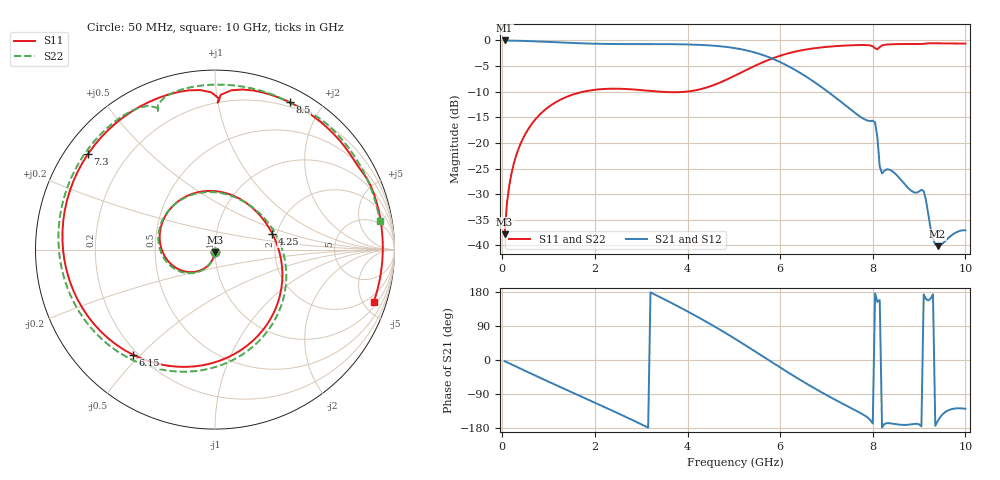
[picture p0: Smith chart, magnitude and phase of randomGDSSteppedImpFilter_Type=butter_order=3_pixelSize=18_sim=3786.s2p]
! freq	dB(S11)	phase(S11)	dB(S12)	phase(S12)
!  dB(S21)	phase(S21)	dB(S22)	phase(S22)
!S-par simulation data
#  GHz  S  DB  R 50
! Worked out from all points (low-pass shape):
!   200 points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, 50 MHz to 10 GHz, reference 50 ohm
!   highest |S21| = 0.00 dB at 50 MHz (marker M1); lowest = -40.1 dB at 9.4 GHz (marker M2)
!   |S21| within 3 dB of the highest: start of sweep to 5.677 GHz
!   lowest |S11| = -37.8 dB at 50 MHz (marker M3), VSWR 1.03, Z = 49.9 - j1.28 ohm
!   |S11| at or under -10 dB: start of sweep to 1.754 GHz; 3.406 GHz to 3.965 GHz (559 MHz wide, 15.2 % of centre)
!   |S22| runs from -37.8 to -0.6 dB; largest |S21 - S12| = 0
!   S11 on the Smith chart (normalised r, x): 50 MHz: 1.00, -0.03; 4.25 GHz: 1.90, +0.37; 6.15 GHz: 0.18, -0.48; 7.3 GHz: 0.07, +0.33; 8.5 GHz: 0.15, +1.62; 10 GHz: 1.37, -5.96
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0.05  -37.85 -92.7  -0.00 -3.0  -0.00 -3.0  -37.85 -92.6
0.2  -25.89 -102.0  -0.03 -11.7  -0.03 -11.7  -25.89 -101.4
0.5  -18.22 -120.2  -0.10 -29.0  -0.10 -29.0  -18.22 -118.6
1.15  -12.08 -158.3  -0.36 -65.7  -0.36 -65.7  -12.08 -154.5
1.75  -10.01 167.4  -0.58 -98.9  -0.58 -98.9  -10.01 173.4
2.65  -9.47 115.1  -0.71 -149.2  -0.71 -149.2  -9.47 125.2
3.4  -10.00 69.4  -0.72 166.3  -0.72 166.3  -10.00 82.4
4.25  -9.58 15.1  -0.86 111.5  -0.86 111.5  -9.60 27.1
4.65  -8.41 -11.9  -1.09 83.6  -1.09 83.6  -8.43 -1.9
5.05  -6.75 -40.6  -1.54 54.2  -1.54 54.2  -6.76 -32.5
5.55  -4.56 -79.4  -2.62 15.5  -2.62 15.5  -4.55 -72.0
6.15  -2.58 -127.9  -4.90 -31.2  -4.90 -31.2  -2.55 -118.8
6.7  -1.57 -171.6  -7.89 -71.7  -7.89 -71.7  -1.53 -159.1
7.3  -1.06 143.0  -11.88 -112.2  -11.88 -112.2  -1.01 160.4
7.75  -0.89 110.3  -15.01 -141.0  -15.01 -141.0  -0.86 131.6
8.05  -1.52 88.3  -15.99 175.8  -15.99 175.8  -1.40 112.0
8.15  -1.28 87.9  -24.60 158.2  -24.60 158.2  -1.22 111.5
8.35  -0.77 73.1  -25.18 -166.7  -25.18 -166.7  -0.77 98.3
8.5  -0.72 63.1  -26.14 -169.4  -26.14 -169.4  -0.73 89.2
9.1  -0.67 28.2  -29.40 173.2  -29.40 173.2  -0.70 56.5
9.4  -0.57 11.3  -40.15 -161.7  -40.15 -161.7  -0.57 39.8
10  -0.62 -18.1  -37.05 -128.7  -37.05 -128.7  -0.61 9.8
